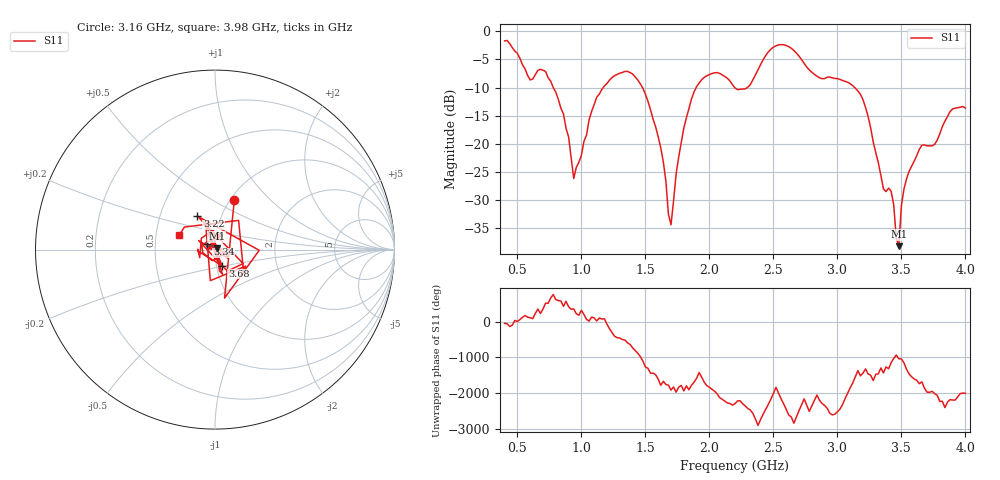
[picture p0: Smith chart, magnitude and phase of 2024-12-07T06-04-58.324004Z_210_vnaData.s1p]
!Created with skrf (http://scikit-rf.org).
# Hz S RI R 50.0
!freq ReS11 ImS11
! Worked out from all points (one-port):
!   181 points, 400 MHz to 4 GHz, reference 50 ohm
!   lowest |S11| = -38.2 dB at 3.48 GHz (marker M1), VSWR 1.03, Z = 50.9 + j0.834 ohm
!   |S11| at or under -10 dB: 780.2 MHz to 1.171 GHz (390.4 MHz wide, 40 % of centre); 1.477 GHz to 1.897 GHz (419.1 MHz wide, 24.8 % of centre); 3.135 GHz to end of sweep (the widest 3 of 4)
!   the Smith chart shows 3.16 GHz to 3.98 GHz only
!   S11 on the Smith chart (normalised r, x): 3.16 GHz: 1.05, +0.63; 3.22 GHz: 0.77, +0.30; 3.34 GHz: 0.92, +0.06; 3.68 GHz: 1.07, -0.19; 3.98 GHz: 0.66, +0.11
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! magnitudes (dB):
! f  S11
! 400 MHz  -1.7
! 600 MHz  -8.6
! 720 MHz  -7.2
! 860 MHz  -14.7
! 940 MHz  -26.1
! 1.12 GHz  -11.7
! 1.3 GHz  -7.4
! 1.52 GHz  -12.4
! 1.62 GHz  -20.7
! 1.7 GHz  -34.4
! 1.76 GHz  -22.3
! 1.86 GHz  -12.0
! 1.94 GHz  -8.6
! 2.2 GHz  -10.1
! 2.3 GHz  -10.0
! 2.5 GHz  -2.8
! 2.66 GHz  -3.4
! 3.1 GHz  -9.3
! 3.16 GHz  -10.6
! 3.22 GHz  -13.5
! 3.34 GHz  -25.6
! 3.42 GHz  -28.4
! 3.48 GHz  -38.2
! 3.5 GHz  -31.0
! 3.56 GHz  -24.9
! 3.68 GHz  -20.2
! 3.98 GHz  -13.4
! 4 GHz  -13.6
